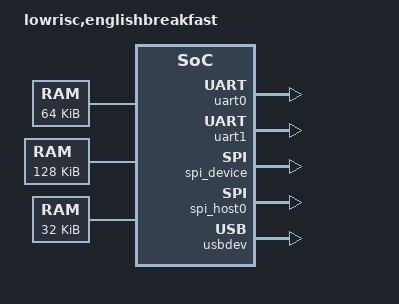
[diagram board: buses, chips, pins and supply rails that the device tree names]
// Copyright lowRISC contributors.
// Licensed under the Apache License, Version 2.0, see LICENSE for details.
// SPDX-License-Identifier: Apache-2.0

/dts-v1/;

/**
 * Pinmux peripheral input mux IDs.
 */
/** Peripheral Input 0 */
#define TOP_ENGLISHBREAKFAST_PINMUX_PERIPHERAL_IN_GPIO_GPIO_0 0
/** Peripheral Input 1 */
#define TOP_ENGLISHBREAKFAST_PINMUX_PERIPHERAL_IN_GPIO_GPIO_1 1
/** Peripheral Input 2 */
#define TOP_ENGLISHBREAKFAST_PINMUX_PERIPHERAL_IN_GPIO_GPIO_2 2
/** Peripheral Input 3 */
#define TOP_ENGLISHBREAKFAST_PINMUX_PERIPHERAL_IN_GPIO_GPIO_3 3
/** Peripheral Input 4 */
#define TOP_ENGLISHBREAKFAST_PINMUX_PERIPHERAL_IN_GPIO_GPIO_4 4
/** Peripheral Input 5 */
#define TOP_ENGLISHBREAKFAST_PINMUX_PERIPHERAL_IN_GPIO_GPIO_5 5
/** Peripheral Input 6 */
#define TOP_ENGLISHBREAKFAST_PINMUX_PERIPHERAL_IN_GPIO_GPIO_6 6
/** Peripheral Input 7 */
#define TOP_ENGLISHBREAKFAST_PINMUX_PERIPHERAL_IN_GPIO_GPIO_7 7
/** Peripheral Input 8 */
#define TOP_ENGLISHBREAKFAST_PINMUX_PERIPHERAL_IN_GPIO_GPIO_8 8
/** Peripheral Input 9 */
#define TOP_ENGLISHBREAKFAST_PINMUX_PERIPHERAL_IN_GPIO_GPIO_9 9
/** Peripheral Input 10 */
#define TOP_ENGLISHBREAKFAST_PINMUX_PERIPHERAL_IN_GPIO_GPIO_10 10
/** Peripheral Input 11 */
#define TOP_ENGLISHBREAKFAST_PINMUX_PERIPHERAL_IN_GPIO_GPIO_11 11
/** Peripheral Input 12 */
#define TOP_ENGLISHBREAKFAST_PINMUX_PERIPHERAL_IN_GPIO_GPIO_12 12
/** Peripheral Input 13 */
#define TOP_ENGLISHBREAKFAST_PINMUX_PERIPHERAL_IN_GPIO_GPIO_13 13
/** Peripheral Input 14 */
#define TOP_ENGLISHBREAKFAST_PINMUX_PERIPHERAL_IN_GPIO_GPIO_14 14
/** Peripheral Input 15 */
#define TOP_ENGLISHBREAKFAST_PINMUX_PERIPHERAL_IN_GPIO_GPIO_15 15
/** Peripheral Input 16 */
#define TOP_ENGLISHBREAKFAST_PINMUX_PERIPHERAL_IN_GPIO_GPIO_16 16
/** Peripheral Input 17 */
#define TOP_ENGLISHBREAKFAST_PINMUX_PERIPHERAL_IN_GPIO_GPIO_17 17
/** Peripheral Input 18 */
#define TOP_ENGLISHBREAKFAST_PINMUX_PERIPHERAL_IN_GPIO_GPIO_18 18
/** Peripheral Input 19 */
#define TOP_ENGLISHBREAKFAST_PINMUX_PERIPHERAL_IN_GPIO_GPIO_19 19
/** Peripheral Input 20 */
#define TOP_ENGLISHBREAKFAST_PINMUX_PERIPHERAL_IN_GPIO_GPIO_20 20
/** Peripheral Input 21 */
#define TOP_ENGLISHBREAKFAST_PINMUX_PERIPHERAL_IN_GPIO_GPIO_21 21
/** Peripheral Input 22 */
#define TOP_ENGLISHBREAKFAST_PINMUX_PERIPHERAL_IN_GPIO_GPIO_22 22
/** Peripheral Input 23 */
#define TOP_ENGLISHBREAKFAST_PINMUX_PERIPHERAL_IN_GPIO_GPIO_23 23
/** Peripheral Input 24 */
#define TOP_ENGLISHBREAKFAST_PINMUX_PERIPHERAL_IN_GPIO_GPIO_24 24
/** Peripheral Input 25 */
#define TOP_ENGLISHBREAKFAST_PINMUX_PERIPHERAL_IN_GPIO_GPIO_25 25
/** Peripheral Input 26 */
#define TOP_ENGLISHBREAKFAST_PINMUX_PERIPHERAL_IN_GPIO_GPIO_26 26
/** Peripheral Input 27 */
#define TOP_ENGLISHBREAKFAST_PINMUX_PERIPHERAL_IN_GPIO_GPIO_27 27
/** Peripheral Input 28 */
#define TOP_ENGLISHBREAKFAST_PINMUX_PERIPHERAL_IN_GPIO_GPIO_28 28
/** Peripheral Input 29 */
#define TOP_ENGLISHBREAKFAST_PINMUX_PERIPHERAL_IN_GPIO_GPIO_29 29
/** Peripheral Input 30 */
#define TOP_ENGLISHBREAKFAST_PINMUX_PERIPHERAL_IN_GPIO_GPIO_30 30
/** Peripheral Input 31 */
#define TOP_ENGLISHBREAKFAST_PINMUX_PERIPHERAL_IN_GPIO_GPIO_31 31
/** Peripheral Input 32 */
#define TOP_ENGLISHBREAKFAST_PINMUX_PERIPHERAL_IN_UART0_RX 32
/** Peripheral Input 33 */
#define TOP_ENGLISHBREAKFAST_PINMUX_PERIPHERAL_IN_UART1_RX 33
/** Peripheral Input 34 */
#define TOP_ENGLISHBREAKFAST_PINMUX_PERIPHERAL_IN_FLASH_CTRL_TCK 34
/** Peripheral Input 35 */
#define TOP_ENGLISHBREAKFAST_PINMUX_PERIPHERAL_IN_FLASH_CTRL_TMS 35
/** Peripheral Input 36 */
#define TOP_ENGLISHBREAKFAST_PINMUX_PERIPHERAL_IN_FLASH_CTRL_TDI 36
/** Peripheral Input 37 */
#define TOP_ENGLISHBREAKFAST_PINMUX_PERIPHERAL_IN_USBDEV_SENSE 37

/**
 * Pinmux input selection IDs for pads or tied values.
 */
/** Tie constantly to zero */
#define TOP_ENGLISHBREAKFAST_PINMUX_INSEL_CONSTANT_ZERO 0
/** Tie constantly to one */
#define TOP_ENGLISHBREAKFAST_PINMUX_INSEL_CONSTANT_ONE 1
/** MIO Pad 0 */
#define TOP_ENGLISHBREAKFAST_PINMUX_INSEL_IOA0 2
/** MIO Pad 1 */
#define TOP_ENGLISHBREAKFAST_PINMUX_INSEL_IOA1 3
/** MIO Pad 2 */
#define TOP_ENGLISHBREAKFAST_PINMUX_INSEL_IOA2 4
/** MIO Pad 3 */
#define TOP_ENGLISHBREAKFAST_PINMUX_INSEL_IOA3 5
/** MIO Pad 4 */
#define TOP_ENGLISHBREAKFAST_PINMUX_INSEL_IOA4 6
/** MIO Pad 5 */
#define TOP_ENGLISHBREAKFAST_PINMUX_INSEL_IOA5 7
/** MIO Pad 6 */
#define TOP_ENGLISHBREAKFAST_PINMUX_INSEL_IOA6 8
/** MIO Pad 7 */
#define TOP_ENGLISHBREAKFAST_PINMUX_INSEL_IOA7 9
/** MIO Pad 8 */
#define TOP_ENGLISHBREAKFAST_PINMUX_INSEL_IOA8 10
/** MIO Pad 9 */
#define TOP_ENGLISHBREAKFAST_PINMUX_INSEL_IOB0 11
/** MIO Pad 10 */
#define TOP_ENGLISHBREAKFAST_PINMUX_INSEL_IOB1 12
/** MIO Pad 11 */
#define TOP_ENGLISHBREAKFAST_PINMUX_INSEL_IOB2 13
/** MIO Pad 12 */
#define TOP_ENGLISHBREAKFAST_PINMUX_INSEL_IOB3 14
/** MIO Pad 13 */
#define TOP_ENGLISHBREAKFAST_PINMUX_INSEL_IOB4 15
/** MIO Pad 14 */
#define TOP_ENGLISHBREAKFAST_PINMUX_INSEL_IOB5 16
/** MIO Pad 15 */
#define TOP_ENGLISHBREAKFAST_PINMUX_INSEL_IOB6 17
/** MIO Pad 16 */
#define TOP_ENGLISHBREAKFAST_PINMUX_INSEL_IOB7 18
/** MIO Pad 17 */
#define TOP_ENGLISHBREAKFAST_PINMUX_INSEL_IOB8 19
/** MIO Pad 18 */
#define TOP_ENGLISHBREAKFAST_PINMUX_INSEL_IOB9 20
/** MIO Pad 19 */
#define TOP_ENGLISHBREAKFAST_PINMUX_INSEL_IOB10 21
/** MIO Pad 20 */
#define TOP_ENGLISHBREAKFAST_PINMUX_INSEL_IOB11 22
/** MIO Pad 21 */
#define TOP_ENGLISHBREAKFAST_PINMUX_INSEL_IOB12 23
/** MIO Pad 22 */
#define TOP_ENGLISHBREAKFAST_PINMUX_INSEL_IOC0 24
/** MIO Pad 23 */
#define TOP_ENGLISHBREAKFAST_PINMUX_INSEL_IOC1 25
/** MIO Pad 24 */
#define TOP_ENGLISHBREAKFAST_PINMUX_INSEL_IOC2 26
/** MIO Pad 25 */
#define TOP_ENGLISHBREAKFAST_PINMUX_INSEL_IOC3 27
/** MIO Pad 26 */
#define TOP_ENGLISHBREAKFAST_PINMUX_INSEL_IOC4 28
/** MIO Pad 27 */
#define TOP_ENGLISHBREAKFAST_PINMUX_INSEL_IOC5 29
/** MIO Pad 28 */
#define TOP_ENGLISHBREAKFAST_PINMUX_INSEL_IOC6 30
/** MIO Pad 29 */
#define TOP_ENGLISHBREAKFAST_PINMUX_INSEL_IOC7 31
/** MIO Pad 30 */
#define TOP_ENGLISHBREAKFAST_PINMUX_INSEL_IOC8 32
/** MIO Pad 31 */
#define TOP_ENGLISHBREAKFAST_PINMUX_INSEL_IOC9 33
/** MIO Pad 32 */
#define TOP_ENGLISHBREAKFAST_PINMUX_INSEL_IOC10 34
/** MIO Pad 33 */
#define TOP_ENGLISHBREAKFAST_PINMUX_INSEL_IOC11 35
/** MIO Pad 34 */
#define TOP_ENGLISHBREAKFAST_PINMUX_INSEL_IOC12 36
/** MIO Pad 35 */
#define TOP_ENGLISHBREAKFAST_PINMUX_INSEL_IOR0 37
/** MIO Pad 36 */
#define TOP_ENGLISHBREAKFAST_PINMUX_INSEL_IOR1 38
/** MIO Pad 37 */
#define TOP_ENGLISHBREAKFAST_PINMUX_INSEL_IOR2 39
/** MIO Pad 38 */
#define TOP_ENGLISHBREAKFAST_PINMUX_INSEL_IOR3 40
/** MIO Pad 39 */
#define TOP_ENGLISHBREAKFAST_PINMUX_INSEL_IOR4 41
/** MIO Pad 40 */
#define TOP_ENGLISHBREAKFAST_PINMUX_INSEL_IOR5 42
/** MIO Pad 41 */
#define TOP_ENGLISHBREAKFAST_PINMUX_INSEL_IOR6 43
/** MIO Pad 42 */
#define TOP_ENGLISHBREAKFAST_PINMUX_INSEL_IOR7 44
/** MIO Pad 43 */
#define TOP_ENGLISHBREAKFAST_PINMUX_INSEL_IOR10 45
/** MIO Pad 44 */
#define TOP_ENGLISHBREAKFAST_PINMUX_INSEL_IOR11 46
/** MIO Pad 45 */
#define TOP_ENGLISHBREAKFAST_PINMUX_INSEL_IOR12 47
/** MIO Pad 46 */
#define TOP_ENGLISHBREAKFAST_PINMUX_INSEL_IOR13 48

/**
 * Pinmux pad output mux IDs.
 */
/** MIO Pad 0 */
#define TOP_ENGLISHBREAKFAST_PINMUX_MIO_OUT_IOA0 0
/** MIO Pad 1 */
#define TOP_ENGLISHBREAKFAST_PINMUX_MIO_OUT_IOA1 1
/** MIO Pad 2 */
#define TOP_ENGLISHBREAKFAST_PINMUX_MIO_OUT_IOA2 2
/** MIO Pad 3 */
#define TOP_ENGLISHBREAKFAST_PINMUX_MIO_OUT_IOA3 3
/** MIO Pad 4 */
#define TOP_ENGLISHBREAKFAST_PINMUX_MIO_OUT_IOA4 4
/** MIO Pad 5 */
#define TOP_ENGLISHBREAKFAST_PINMUX_MIO_OUT_IOA5 5
/** MIO Pad 6 */
#define TOP_ENGLISHBREAKFAST_PINMUX_MIO_OUT_IOA6 6
/** MIO Pad 7 */
#define TOP_ENGLISHBREAKFAST_PINMUX_MIO_OUT_IOA7 7
/** MIO Pad 8 */
#define TOP_ENGLISHBREAKFAST_PINMUX_MIO_OUT_IOA8 8
/** MIO Pad 9 */
#define TOP_ENGLISHBREAKFAST_PINMUX_MIO_OUT_IOB0 9
/** MIO Pad 10 */
#define TOP_ENGLISHBREAKFAST_PINMUX_MIO_OUT_IOB1 10
/** MIO Pad 11 */
#define TOP_ENGLISHBREAKFAST_PINMUX_MIO_OUT_IOB2 11
/** MIO Pad 12 */
#define TOP_ENGLISHBREAKFAST_PINMUX_MIO_OUT_IOB3 12
/** MIO Pad 13 */
#define TOP_ENGLISHBREAKFAST_PINMUX_MIO_OUT_IOB4 13
/** MIO Pad 14 */
#define TOP_ENGLISHBREAKFAST_PINMUX_MIO_OUT_IOB5 14
/** MIO Pad 15 */
#define TOP_ENGLISHBREAKFAST_PINMUX_MIO_OUT_IOB6 15
/** MIO Pad 16 */
#define TOP_ENGLISHBREAKFAST_PINMUX_MIO_OUT_IOB7 16
/** MIO Pad 17 */
#define TOP_ENGLISHBREAKFAST_PINMUX_MIO_OUT_IOB8 17
/** MIO Pad 18 */
#define TOP_ENGLISHBREAKFAST_PINMUX_MIO_OUT_IOB9 18
/** MIO Pad 19 */
#define TOP_ENGLISHBREAKFAST_PINMUX_MIO_OUT_IOB10 19
/** MIO Pad 20 */
#define TOP_ENGLISHBREAKFAST_PINMUX_MIO_OUT_IOB11 20
/** MIO Pad 21 */
#define TOP_ENGLISHBREAKFAST_PINMUX_MIO_OUT_IOB12 21
/** MIO Pad 22 */
#define TOP_ENGLISHBREAKFAST_PINMUX_MIO_OUT_IOC0 22
/** MIO Pad 23 */
#define TOP_ENGLISHBREAKFAST_PINMUX_MIO_OUT_IOC1 23
/** MIO Pad 24 */
#define TOP_ENGLISHBREAKFAST_PINMUX_MIO_OUT_IOC2 24
/** MIO Pad 25 */
#define TOP_ENGLISHBREAKFAST_PINMUX_MIO_OUT_IOC3 25
/** MIO Pad 26 */
#define TOP_ENGLISHBREAKFAST_PINMUX_MIO_OUT_IOC4 26
/** MIO Pad 27 */
#define TOP_ENGLISHBREAKFAST_PINMUX_MIO_OUT_IOC5 27
/** MIO Pad 28 */
#define TOP_ENGLISHBREAKFAST_PINMUX_MIO_OUT_IOC6 28
/** MIO Pad 29 */
#define TOP_ENGLISHBREAKFAST_PINMUX_MIO_OUT_IOC7 29
/** MIO Pad 30 */
#define TOP_ENGLISHBREAKFAST_PINMUX_MIO_OUT_IOC8 30
/** MIO Pad 31 */
#define TOP_ENGLISHBREAKFAST_PINMUX_MIO_OUT_IOC9 31
/** MIO Pad 32 */
#define TOP_ENGLISHBREAKFAST_PINMUX_MIO_OUT_IOC10 32
/** MIO Pad 33 */
#define TOP_ENGLISHBREAKFAST_PINMUX_MIO_OUT_IOC11 33
/** MIO Pad 34 */
#define TOP_ENGLISHBREAKFAST_PINMUX_MIO_OUT_IOC12 34
/** MIO Pad 35 */
#define TOP_ENGLISHBREAKFAST_PINMUX_MIO_OUT_IOR0 35
/** MIO Pad 36 */
#define TOP_ENGLISHBREAKFAST_PINMUX_MIO_OUT_IOR1 36
/** MIO Pad 37 */
#define TOP_ENGLISHBREAKFAST_PINMUX_MIO_OUT_IOR2 37
/** MIO Pad 38 */
#define TOP_ENGLISHBREAKFAST_PINMUX_MIO_OUT_IOR3 38
/** MIO Pad 39 */
#define TOP_ENGLISHBREAKFAST_PINMUX_MIO_OUT_IOR4 39
/** MIO Pad 40 */
#define TOP_ENGLISHBREAKFAST_PINMUX_MIO_OUT_IOR5 40
/** MIO Pad 41 */
#define TOP_ENGLISHBREAKFAST_PINMUX_MIO_OUT_IOR6 41
/** MIO Pad 42 */
#define TOP_ENGLISHBREAKFAST_PINMUX_MIO_OUT_IOR7 42
/** MIO Pad 43 */
#define TOP_ENGLISHBREAKFAST_PINMUX_MIO_OUT_IOR10 43
/** MIO Pad 44 */
#define TOP_ENGLISHBREAKFAST_PINMUX_MIO_OUT_IOR11 44
/** MIO Pad 45 */
#define TOP_ENGLISHBREAKFAST_PINMUX_MIO_OUT_IOR12 45
/** MIO Pad 46 */
#define TOP_ENGLISHBREAKFAST_PINMUX_MIO_OUT_IOR13 46

/**
 * Pinmux output selection IDs for peripherals or tied values.
 */
/** Tie constantly to zero */
#define TOP_ENGLISHBREAKFAST_PINMUX_OUTSEL_CONSTANT_ZERO 0
/** Tie constantly to one */
#define TOP_ENGLISHBREAKFAST_PINMUX_OUTSEL_CONSTANT_ONE 1
/** Tie constantly to high-Z */
#define TOP_ENGLISHBREAKFAST_PINMUX_OUTSEL_CONSTANT_HIGH_Z 2
/** Peripheral Output 0 */
#define TOP_ENGLISHBREAKFAST_PINMUX_OUTSEL_GPIO_GPIO_0 3
/** Peripheral Output 1 */
#define TOP_ENGLISHBREAKFAST_PINMUX_OUTSEL_GPIO_GPIO_1 4
/** Peripheral Output 2 */
#define TOP_ENGLISHBREAKFAST_PINMUX_OUTSEL_GPIO_GPIO_2 5
/** Peripheral Output 3 */
#define TOP_ENGLISHBREAKFAST_PINMUX_OUTSEL_GPIO_GPIO_3 6
/** Peripheral Output 4 */
#define TOP_ENGLISHBREAKFAST_PINMUX_OUTSEL_GPIO_GPIO_4 7
/** Peripheral Output 5 */
#define TOP_ENGLISHBREAKFAST_PINMUX_OUTSEL_GPIO_GPIO_5 8
/** Peripheral Output 6 */
#define TOP_ENGLISHBREAKFAST_PINMUX_OUTSEL_GPIO_GPIO_6 9
/** Peripheral Output 7 */
#define TOP_ENGLISHBREAKFAST_PINMUX_OUTSEL_GPIO_GPIO_7 10
/** Peripheral Output 8 */
#define TOP_ENGLISHBREAKFAST_PINMUX_OUTSEL_GPIO_GPIO_8 11
/** Peripheral Output 9 */
#define TOP_ENGLISHBREAKFAST_PINMUX_OUTSEL_GPIO_GPIO_9 12
/** Peripheral Output 10 */
#define TOP_ENGLISHBREAKFAST_PINMUX_OUTSEL_GPIO_GPIO_10 13
/** Peripheral Output 11 */
#define TOP_ENGLISHBREAKFAST_PINMUX_OUTSEL_GPIO_GPIO_11 14
/** Peripheral Output 12 */
#define TOP_ENGLISHBREAKFAST_PINMUX_OUTSEL_GPIO_GPIO_12 15
/** Peripheral Output 13 */
#define TOP_ENGLISHBREAKFAST_PINMUX_OUTSEL_GPIO_GPIO_13 16
/** Peripheral Output 14 */
#define TOP_ENGLISHBREAKFAST_PINMUX_OUTSEL_GPIO_GPIO_14 17
/** Peripheral Output 15 */
#define TOP_ENGLISHBREAKFAST_PINMUX_OUTSEL_GPIO_GPIO_15 18
/** Peripheral Output 16 */
#define TOP_ENGLISHBREAKFAST_PINMUX_OUTSEL_GPIO_GPIO_16 19
/** Peripheral Output 17 */
#define TOP_ENGLISHBREAKFAST_PINMUX_OUTSEL_GPIO_GPIO_17 20
/** Peripheral Output 18 */
#define TOP_ENGLISHBREAKFAST_PINMUX_OUTSEL_GPIO_GPIO_18 21
/** Peripheral Output 19 */
#define TOP_ENGLISHBREAKFAST_PINMUX_OUTSEL_GPIO_GPIO_19 22
/** Peripheral Output 20 */
#define TOP_ENGLISHBREAKFAST_PINMUX_OUTSEL_GPIO_GPIO_20 23
/** Peripheral Output 21 */
#define TOP_ENGLISHBREAKFAST_PINMUX_OUTSEL_GPIO_GPIO_21 24
/** Peripheral Output 22 */
#define TOP_ENGLISHBREAKFAST_PINMUX_OUTSEL_GPIO_GPIO_22 25
/** Peripheral Output 23 */
#define TOP_ENGLISHBREAKFAST_PINMUX_OUTSEL_GPIO_GPIO_23 26
/** Peripheral Output 24 */
#define TOP_ENGLISHBREAKFAST_PINMUX_OUTSEL_GPIO_GPIO_24 27
/** Peripheral Output 25 */
#define TOP_ENGLISHBREAKFAST_PINMUX_OUTSEL_GPIO_GPIO_25 28
/** Peripheral Output 26 */
#define TOP_ENGLISHBREAKFAST_PINMUX_OUTSEL_GPIO_GPIO_26 29
/** Peripheral Output 27 */
#define TOP_ENGLISHBREAKFAST_PINMUX_OUTSEL_GPIO_GPIO_27 30
/** Peripheral Output 28 */
#define TOP_ENGLISHBREAKFAST_PINMUX_OUTSEL_GPIO_GPIO_28 31
/** Peripheral Output 29 */
#define TOP_ENGLISHBREAKFAST_PINMUX_OUTSEL_GPIO_GPIO_29 32
/** Peripheral Output 30 */
#define TOP_ENGLISHBREAKFAST_PINMUX_OUTSEL_GPIO_GPIO_30 33
/** Peripheral Output 31 */
#define TOP_ENGLISHBREAKFAST_PINMUX_OUTSEL_GPIO_GPIO_31 34
/** Peripheral Output 32 */
#define TOP_ENGLISHBREAKFAST_PINMUX_OUTSEL_UART0_TX 35
/** Peripheral Output 33 */
#define TOP_ENGLISHBREAKFAST_PINMUX_OUTSEL_UART1_TX 36
/** Peripheral Output 34 */
#define TOP_ENGLISHBREAKFAST_PINMUX_OUTSEL_FLASH_CTRL_TDO 37

#define OPENTITAN_PINMUX(mux_id, select_id)     ((mux_id << 16) | (select_id))

/ {
    #address-cells = <1>;
    #size-cells = <1>;
    model = "lowrisc,englishbreakfast";
    compatible = "lowrisc,englishbreakfast";

    cpus {
        #address-cells = <1>;
        #size-cells = <0>;

        hart0: cpu@0 {
            compatible = "riscv";
            device_type = "cpu";
            reg = <0>;
            status = "okay";

            hlic: interrupt-controller {
                compatible = "riscv,cpu-intc";
                #interrupt-cells = <1>;
                interrupt-controller;
            };
        };
    };

    /**
     * Memory for eflash in top englishbreakfast.
     */
    eflash: memory@20000000 {
        device_type = "memory";
        reg = <0x20000000 0x00010000>;
    };

    /**
     * Memory for ram_main in top englishbreakfast.
     */
    ram_main: memory@10000000 {
        device_type = "memory";
        reg = <0x10000000 0x00020000>;
    };

    /**
     * Memory for rom in top englishbreakfast.
     */
    rom: memory@8000 {
        device_type = "memory";
        reg = <0x00008000 0x00008000>;
    };


    bus {
        compatible = "simple-bus";
        #address-cells = <1>;
        #size-cells = <1>;
        ranges;

        uart0: uart@40000000 {
            compatible = "lowrisc,uart";
            reg = <0x40000000 0x00000040>;
            reg-names = "uart";
            interrupt-parent = <&rv_plic>;
            interrupts = <1 0>, <2 0>, <3 0>, <4 0>, <5 0>, <6 0>, <7 0>, <8 0>, <9 0>;
            interrupt-names = "tx_watermark", "rx_watermark", "tx_done", "rx_overflow", "rx_frame_err", "rx_break_err", "rx_timeout", "rx_parity_err", "tx_empty";
        };
        uart1: uart@40010000 {
            compatible = "lowrisc,uart";
            reg = <0x40010000 0x00000040>;
            reg-names = "uart";
            interrupt-parent = <&rv_plic>;
            interrupts = <10 0>, <11 0>, <12 0>, <13 0>, <14 0>, <15 0>, <16 0>, <17 0>, <18 0>;
            interrupt-names = "tx_watermark", "rx_watermark", "tx_done", "rx_overflow", "rx_frame_err", "rx_break_err", "rx_timeout", "rx_parity_err", "tx_empty";
        };
        gpio: gpio@40040000 {
            compatible = "lowrisc,gpio";
            reg = <0x40040000 0x00000080>;
            reg-names = "gpio";
            interrupt-parent = <&rv_plic>;
            interrupts = <19 0>, <20 0>, <21 0>, <22 0>, <23 0>, <24 0>, <25 0>, <26 0>, <27 0>, <28 0>, <29 0>, <30 0>, <31 0>, <32 0>, <33 0>, <34 0>, <35 0>, <36 0>, <37 0>, <38 0>, <39 0>, <40 0>, <41 0>, <42 0>, <43 0>, <44 0>, <45 0>, <46 0>, <47 0>, <48 0>, <49 0>, <50 0>;
            interrupt-names = "gpio0", "gpio1", "gpio2", "gpio3", "gpio4", "gpio5", "gpio6", "gpio7", "gpio8", "gpio9", "gpio10", "gpio11", "gpio12", "gpio13", "gpio14", "gpio15", "gpio16", "gpio17", "gpio18", "gpio19", "gpio20", "gpio21", "gpio22", "gpio23", "gpio24", "gpio25", "gpio26", "gpio27", "gpio28", "gpio29", "gpio30", "gpio31";
        };
        spi_device: spi_device@40050000 {
            compatible = "lowrisc,spi_device";
            reg = <0x40050000 0x00002000>;
            reg-names = "spi_device";
            interrupt-parent = <&rv_plic>;
            interrupts = <51 0>, <52 0>, <53 0>, <54 0>, <55 0>, <56 0>, <57 0>, <58 0>;
            interrupt-names = "upload_cmdfifo_not_empty", "upload_payload_not_empty", "upload_payload_overflow", "readbuf_watermark", "readbuf_flip", "tpm_header_not_empty", "tpm_rdfifo_cmd_end", "tpm_rdfifo_drop";
        };
        spi_host0: spi_host@40060000 {
            compatible = "lowrisc,spi_host";
            reg = <0x40060000 0x00000040>;
            reg-names = "spi_host";
            interrupt-parent = <&rv_plic>;
            interrupts = <59 0>, <60 0>;
            interrupt-names = "error", "spi_event";
        };
        rv_timer: rv_timer@40100000 {
            compatible = "lowrisc,rv_timer";
            reg = <0x40100000 0x00000200>;
            reg-names = "rv_timer";
        };
        usbdev: usbdev@40320000 {
            compatible = "lowrisc,usbdev";
            reg = <0x40320000 0x00001000>;
            reg-names = "usbdev";
            interrupt-parent = <&rv_plic>;
            interrupts = <61 0>, <62 0>, <63 0>, <64 0>, <65 0>, <66 0>, <67 0>, <68 0>, <69 0>, <70 0>, <71 0>, <72 0>, <73 0>, <74 0>, <75 0>, <76 0>, <77 0>, <78 0>;
            interrupt-names = "pkt_received", "pkt_sent", "disconnected", "host_lost", "link_reset", "link_suspend", "link_resume", "av_out_empty", "rx_full", "av_overflow", "link_in_err", "rx_crc_err", "rx_pid_err", "rx_bitstuff_err", "frame", "powered", "link_out_err", "av_setup_empty";
        };
        pwrmgr_aon: pwrmgr@40400000 {
            compatible = "lowrisc,pwrmgr";
            reg = <0x40400000 0x00000080>;
            reg-names = "pwrmgr";
            interrupt-parent = <&rv_plic>;
            interrupts = <79 0>;
            interrupt-names = "wakeup";
        };
        rstmgr_aon: rstmgr@40410000 {
            compatible = "lowrisc,rstmgr";
            reg = <0x40410000 0x00000080>;
            reg-names = "rstmgr";
        };
        clkmgr_aon: clkmgr@40420000 {
            compatible = "lowrisc,clkmgr";
            reg = <0x40420000 0x00000080>;
            reg-names = "clkmgr";
        };
        pinmux_aon: pinmux@40460000 {
            compatible = "lowrisc,pinmux";
            reg = <0x40460000 0x00001000>;
            reg-names = "pinmux";
        };
        aon_timer_aon: aon_timer@40470000 {
            compatible = "lowrisc,aon_timer";
            reg = <0x40470000 0x00000040>;
            reg-names = "aon_timer";
            interrupt-parent = <&rv_plic>;
            interrupts = <80 0>, <81 0>;
            interrupt-names = "wkup_timer_expired", "wdog_timer_bark";
        };
        ast: ast@40480000 {
            compatible = "lowrisc,ast";
            reg = <0x40480000 0x00000400>;
            reg-names = "ast";
        };
        flash_ctrl: flash_ctrl@41000000 {
            compatible = "lowrisc,flash_ctrl";
            reg = <0x41000000 0x00000200
                   0x41008000 0x00000080
                   0x20000000 0x00010000>;
            reg-names = "core", "prim", "mem";
            interrupt-parent = <&rv_plic>;
            interrupts = <82 0>, <83 0>, <84 0>, <85 0>, <86 0>, <87 0>;
            interrupt-names = "prog_empty", "prog_lvl", "rd_full", "rd_lvl", "op_done", "corr_err";
        };
        rv_plic: rv_plic@48000000 {
            compatible = "lowrisc,rv_plic", "sifive,plic-1.0.0";
            reg = <0x48000000 0x08000000>;
            reg-names = "rv_plic";
            interrupt-controller;
            #interrupt-cells = <2>;
            riscv,max-priority = <3>;
            riscv,ndev = <88>;
            interrupts-extended = <&hlic 11>;
            interrupt-names = "hart0_external";
        };
        aes: aes@41100000 {
            compatible = "lowrisc,aes";
            reg = <0x41100000 0x00000100>;
            reg-names = "aes";
        };
        sram_ctrl_main: sram_ctrl@411c0000 {
            compatible = "lowrisc,sram_ctrl";
            reg = <0x411c0000 0x00000040
                   0x10000000 0x00020000>;
            reg-names = "regs", "ram";
        };
        rom_ctrl: rom_ctrl@411e0000 {
            compatible = "lowrisc,rom_ctrl";
            reg = <0x411e0000 0x00000080
                   0x00008000 0x00008000>;
            reg-names = "regs", "rom";
        };
        rv_core_ibex: rv_core_ibex@411f0000 {
            compatible = "lowrisc,rv_core_ibex";
            reg = <0x411f0000 0x00000100>;
            reg-names = "cfg";
        };
    };
};
